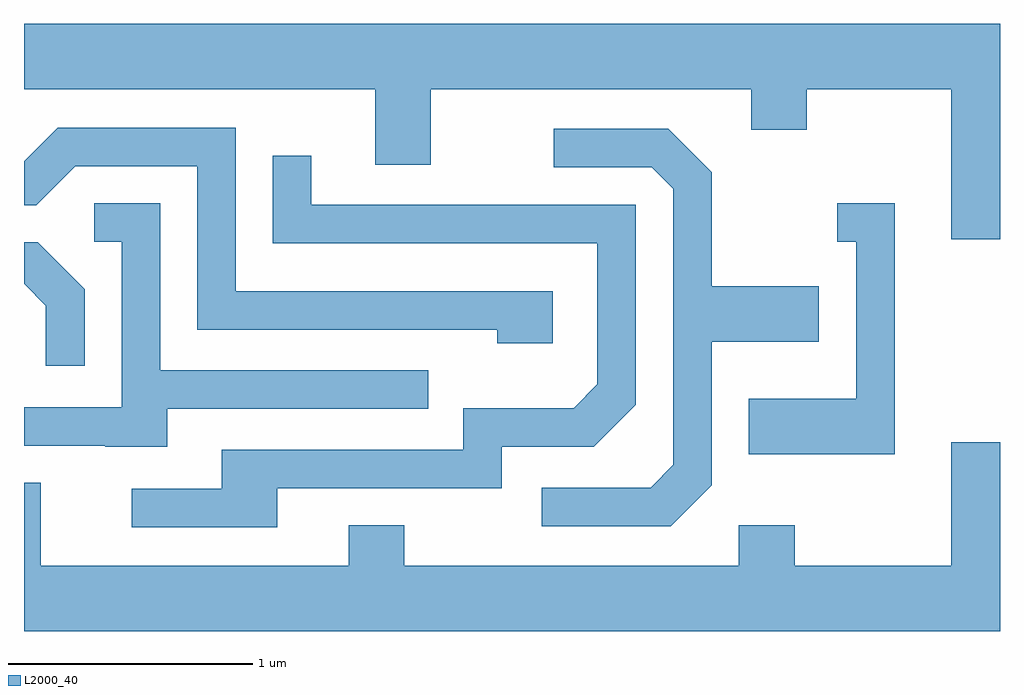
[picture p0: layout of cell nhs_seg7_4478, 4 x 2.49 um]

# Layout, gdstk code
import gdstk
lib = gdstk.Library(unit=1e-6, precision=1e-09)
def P(c, l, *ps):  # polygons
    for p in ps: c.add(gdstk.Polygon(p, *l))
L2000_40 = (2000, 40)

nhs_seg7_4478 = lib.new_cell('nhs_seg7_4478')
P(nhs_seg7_4478, L2000_40, [(325.611,1803.384),(321.611,1803.384),(321.611,1803.116),(323.051,1803.116),(323.051,1802.806),(323.279,1802.806),(323.279,1803.116),(324.591,1803.116),(324.591,1802.951),(324.819,1802.951),(324.819,1803.116),(325.411,1803.116),(325.411,1802.501),(325.611,1802.501)],
  [(323.779,1802.289),(322.479,1802.289),(322.479,1802.959),(321.749,1802.959),(321.611,1802.821),(321.611,1802.641),(321.662,1802.641),(321.822,1802.801),(322.321,1802.801),(322.321,1802.131),(323.551,1802.131),(323.551,1802.076),(323.779,1802.076)],
  [(324.429,1801.494),(324.429,1802.081),(324.869,1802.081),(324.869,1802.309),(324.429,1802.309),(324.429,1802.777),(324.252,1802.954),(323.783,1802.954),(323.783,1802.796),(324.184,1802.796),(324.271,1802.709),(324.271,1801.577),(324.179,1801.484),(323.733,1801.484),(323.733,1801.326),(324.262,1801.326)],
  [(322.649,1801.481),(323.569,1801.481),(323.569,1801.651),(323.947,1801.651),(324.119,1801.824),(324.119,1802.644),(322.789,1802.644),(322.789,1802.843),(322.631,1802.843),(322.631,1802.486),(323.961,1802.486),(323.961,1801.907),(323.864,1801.809),(323.411,1801.809),(323.411,1801.639),(322.421,1801.639),(322.421,1801.479),(322.053,1801.479),(322.053,1801.321),(322.649,1801.321)],
  [(325.179,1802.649),(324.943,1802.649),(324.943,1802.491),(325.021,1802.491),(325.021,1801.849),(324.581,1801.849),(324.581,1801.621),(325.179,1801.621)],
  [(322.199,1801.806),(323.268,1801.806),(323.268,1801.964),(322.169,1801.964),(322.169,1802.649),(321.898,1802.649),(321.898,1802.491),(322.011,1802.491),(322.011,1801.814),(321.611,1801.814),(321.611,1801.656),(321.945,1801.656),(321.945,1801.651),(322.199,1801.651)],
  [(321.859,1802.297),(321.667,1802.489),(321.611,1802.489),(321.611,1802.319),(321.701,1802.229),(321.701,1801.983),(321.859,1801.983)],
  [(325.611,1801.669),(325.411,1801.669),(325.411,1801.164),(324.769,1801.164),(324.769,1801.329),(324.541,1801.329),(324.541,1801.164),(323.169,1801.164),(323.169,1801.329),(322.941,1801.329),(322.941,1801.164),(321.679,1801.164),(321.679,1801.504),(321.611,1801.504),(321.611,1800.896),(325.611,1800.896)])

lib.write_gds('nhs_seg7_4478.gds')
